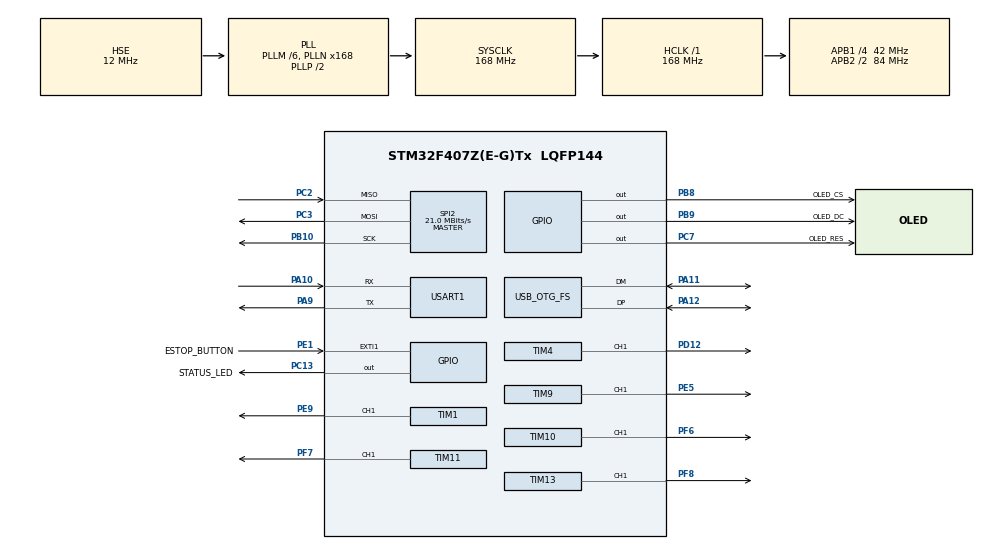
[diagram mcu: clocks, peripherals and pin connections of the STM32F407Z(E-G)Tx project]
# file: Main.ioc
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IWDG.Prescaler=IWDG_PRESCALER_32
Mcu.Family=STM32F4
Mcu.Name=STM32F407Z(E-G)Tx
Mcu.Package=LQFP144
NVIC.EXTI1_IRQn=true\:0\:0\:false\:false\:true\:true\:true\:true
NVIC.OTG_FS_IRQn=true\:5\:0\:true\:false\:true\:false\:true\:true
NVIC.PriorityGroup=NVIC_PRIORITYGROUP_4
NVIC.TIM1_BRK_TIM9_IRQn=true\:1\:0\:true\:false\:true\:true\:true\:true
NVIC.TIM1_TRG_COM_TIM11_IRQn=true\:1\:0\:true\:false\:true\:true\:true\:true
NVIC.TIM1_UP_TIM10_IRQn=true\:1\:0\:true\:false\:true\:true\:true\:true
NVIC.TIM4_IRQn=true\:1\:0\:true\:false\:true\:true\:true\:true
NVIC.TIM7_IRQn=true\:2\:0\:true\:false\:true\:true\:true\:true
NVIC.TIM8_UP_TIM13_IRQn=true\:1\:0\:true\:false\:true\:true\:true\:true
PA10.Mode=Asynchronous
PA10.Signal=USART1_RX
PA11.Mode=Device_Only
PA11.Signal=USB_OTG_FS_DM
PA12.Mode=Device_Only
PA12.Signal=USB_OTG_FS_DP
PA13.Mode=Serial_Wire
PA13.Signal=SYS_JTMS-SWDIO
PA14.Mode=Serial_Wire
PA14.Signal=SYS_JTCK-SWCLK
PA9.Mode=Asynchronous
PA9.Signal=USART1_TX
PB10.Mode=Full_Duplex_Master
PB10.Signal=SPI2_SCK
PB8.GPIO_Label=OLED_CS
PB8.GPIO_Speed=GPIO_SPEED_FREQ_VERY_HIGH
PB8.Signal=GPIO_Output
PB9.GPIO_Label=OLED_DC
PB9.GPIO_Speed=GPIO_SPEED_FREQ_VERY_HIGH
PB9.Signal=GPIO_Output
PC13-ANTI_TAMP.GPIO_Label=STATUS_LED
PC13-ANTI_TAMP.Signal=GPIO_Output
PC2.Mode=Full_Duplex_Master
PC2.Signal=SPI2_MISO
PC3.Mode=Full_Duplex_Master
PC3.Signal=SPI2_MOSI
PC7.GPIO_Label=OLED_RES
PC7.GPIO_Speed=GPIO_SPEED_FREQ_VERY_HIGH
PC7.Signal=GPIO_Output
PD12.Signal=S_TIM4_CH1
PE1.GPIO_Label=ESTOP_BUTTON
PE1.GPIO_ModeDefaultEXTI=GPIO_MODE_IT_RISING_FALLING
PE1.GPIO_PuPd=GPIO_PULLUP
PE1.Signal=GPXTI1
PE5.Signal=S_TIM9_CH1
PE9.Signal=S_TIM1_CH1
PF6.Signal=S_TIM10_CH1
PF7.Signal=S_TIM11_CH1
PF8.Signal=S_TIM13_CH1
PH0-OSC_IN.Mode=HSE-External-Oscillator
PH0-OSC_IN.Signal=RCC_OSC_IN
PH1-OSC_OUT.Mode=HSE-External-Oscillator
PH1-OSC_OUT.Signal=RCC_OSC_OUT
ProjectManager.HeapSize=0x200
ProjectManager.StackSize=0x400
ProjectManager.TargetToolchain=STM32CubeIDE
RCC.48MHZClocksFreq_Value=48000000
RCC.AHBFreq_Value=168000000
RCC.APB1CLKDivider=RCC_HCLK_DIV4
RCC.APB1Freq_Value=42000000
RCC.APB1TimFreq_Value=84000000
RCC.APB2CLKDivider=RCC_HCLK_DIV2
RCC.APB2Freq_Value=84000000
RCC.APB2TimFreq_Value=168000000
RCC.CortexFreq_Value=168000000
RCC.HCLKFreq_Value=168000000
RCC.HSE_VALUE=12000000
RCC.HSI_VALUE=16000000
RCC.LSE_VALUE=32768
RCC.PLLM=6
RCC.PLLN=168
RCC.PLLQ=7
RCC.SYSCLKFreq_VALUE=168000000
RCC.SYSCLKSource=RCC_SYSCLKSOURCE_PLLCLK
RCC.VCOOutputFreq_Value=336000000
SH.S_TIM10_CH1.0=TIM10_CH1,PWM Generation1 CH1
SH.S_TIM11_CH1.0=TIM11_CH1,PWM Generation1 CH1
SH.S_TIM13_CH1.0=TIM13_CH1,PWM Generation1 CH1
SH.S_TIM1_CH1.0=TIM1_CH1,PWM Generation1 CH1
SH.S_TIM4_CH1.0=TIM4_CH1,PWM Generation1 CH1
SH.S_TIM9_CH1.0=TIM9_CH1,PWM Generation1 CH1
SPI2.BaudRatePrescaler=SPI_BAUDRATEPRESCALER_2
SPI2.CalculateBaudRate=21.0 MBits/s
SPI2.Direction=SPI_DIRECTION_2LINES
SPI2.Mode=SPI_MODE_MASTER
SPI2.VirtualType=VM_MASTER
TIM1.AutoReloadPreload=TIM_AUTORELOAD_PRELOAD_ENABLE
TIM1.Channel-PWM\ Generation1\ CH1=TIM_CHANNEL_1
TIM1.OCFastMode_PWM-PWM\ Generation1\ CH1=TIM_OCFAST_ENABLE
TIM1.Prescaler=167
TIM10.AutoReloadPreload=TIM_AUTORELOAD_PRELOAD_ENABLE
TIM10.Channel=TIM_CHANNEL_1
TIM10.OCFastMode_PWM=TIM_OCFAST_ENABLE
TIM10.Prescaler=167
TIM11.AutoReloadPreload=TIM_AUTORELOAD_PRELOAD_ENABLE
TIM11.Channel=TIM_CHANNEL_1
TIM11.OCFastMode_PWM=TIM_OCFAST_ENABLE
TIM11.Prescaler=167
TIM13.AutoReloadPreload=TIM_AUTORELOAD_PRELOAD_ENABLE
TIM13.Channel=TIM_CHANNEL_1
TIM13.OCFastMode_PWM=TIM_OCFAST_ENABLE
TIM13.Prescaler=83
TIM4.AutoReloadPreload=TIM_AUTORELOAD_PRELOAD_ENABLE
TIM4.Channel-PWM\ Generation1\ CH1=TIM_CHANNEL_1
TIM4.OCFastMode_PWM-PWM\ Generation1\ CH1=TIM_OCFAST_ENABLE
TIM4.Prescaler=83
TIM7.AutoReloadPreload=TIM_AUTORELOAD_PRELOAD_ENABLE
TIM7.Prescaler=83
TIM9.AutoReloadPreload=TIM_AUTORELOAD_PRELOAD_ENABLE
TIM9.Channel-PWM\ Generation1\ CH1=TIM_CHANNEL_1
TIM9.OCFastMode_PWM-PWM\ Generation1\ CH1=TIM_OCFAST_ENABLE
TIM9.Prescaler=167
USART1.VirtualMode=VM_ASYNC
USB_DEVICE.CLASS_NAME_FS=AUDIO
USB_DEVICE.VirtualMode-AUDIO_FS=Audio
USB_DEVICE.VirtualModeFS=Audio_FS
USB_OTG_FS.VirtualMode=Device_Only
VP_IWDG_VS_IWDG.Mode=IWDG_Activate
VP_TIM10_VS_ClockSourceINT.Mode=Enable_Timer
VP_TIM10_VS_OPM.Mode=OPM_bit
VP_TIM11_VS_ClockSourceINT.Mode=Enable_Timer
VP_TIM11_VS_OPM.Mode=OPM_bit
VP_TIM13_VS_ClockSourceINT.Mode=Enable_Timer
VP_TIM1_VS_OPM.Mode=OPM_bit
VP_TIM4_VS_OPM.Mode=OPM_bit
VP_TIM7_VS_ClockSourceINT.Mode=Enable_Timer
VP_TIM9_VS_OPM.Mode=OPM_bit
VP_USB_DEVICE_VS_USB_DEVICE_AUDIO_FS.Mode=AUDIO_FS
board=custom

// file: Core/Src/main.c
/* USER CODE BEGIN Header */
/**
  ******************************************************************************
  * @file           : main.c
  * @brief          : Main program body
  ******************************************************************************
  * @attention
  *
  * Copyright (c) 2026 STMicroelectronics.
  * All rights reserved.
  *
  * This software is licensed under terms that can be found in the LICENSE file
  * in the root directory of this software component.
  * If no LICENSE file comes with this software, it is provided AS-IS.
  *
  ******************************************************************************
  */
/* USER CODE END Header */
#include "main.h"
#include "iwdg.h"
#include "spi.h"
#include "tim.h"
#include "usart.h"
#include "usb_device.h"
#include "gpio.h"

/* USER CODE BEGIN Includes */
#include "debug_uart.h"
#include "cdc_parser.h"
#include "usbd_composite.h"
#include "safety.h"
#include "coil_driver.h"
#include "scheduler.h"
#include "midi_engine.h"
#include "display_ui.h"
#include "qcw.h"
/* USER CODE END Includes */

/* USER CODE BEGIN PV */
extern USBD_HandleTypeDef hUsbDeviceFS;
/* USER CODE END PV */

void SystemClock_Config(void);

int main(void)
{

  /* MCU Configuration--------------------------------------------------------*/

  /* Reset of all peripherals, Initializes the Flash interface and the Systick. */
  HAL_Init();

  /* Configure the system clock */
  SystemClock_Config();

  /* Initialize all configured peripherals */
  MX_GPIO_Init();
  MX_TIM1_Init();
  MX_TIM4_Init();
  MX_TIM7_Init();
  MX_TIM9_Init();
  MX_TIM10_Init();
  MX_TIM11_Init();
  MX_TIM13_Init();
  MX_USB_DEVICE_Init();
  MX_IWDG_Init();
  MX_SPI2_Init();
  MX_USART1_UART_Init();
  /* USER CODE BEGIN 2 */
  Debug_Init();
  Debug_Log("System booting...");
  CDC_Parser_Init();
  Debug_Log("USB Composite (CDC+MIDI) initialized");

  /* Milestone 2: Initialize safety, coil driver, scheduler, MIDI engine */
  Safety_Init();
  Debug_Log("Safety limits initialized (defaults)");

  CoilDriver_Init();
  Debug_Log("Coil driver initialized (6 OPM timers)");

  /* SAFETY: Verify all coil outputs are LOW after initialization.
   * If any pin is still HIGH, hardware or init is broken — engage E-Stop. */
  if (CoilDriver_AnyPinHigh())
  {
    Debug_Log("[SAFETY] CRITICAL: Coil pin(s) HIGH after init! E-Stop engaged.");
    Safety_EStopSet(1);
    CoilDriver_StopAll();
  }
  else
  {
    Debug_Log("[SAFETY] Boot check passed: all coil pins LOW");
  }

  /* SAFETY: Sync E-Stop state to the actual physical button position.
   * This corrects any stale state from transient EXTI edges during boot.
   * Pull-down + Disconnect Detect: pin LOW = disconnected/cut = E-Stop active. */
  {
    uint8_t btn_pressed = (HAL_GPIO_ReadPin(ESTOP_BUTTON_GPIO_Port,
                                            ESTOP_BUTTON_Pin) == GPIO_PIN_RESET) ? 1U : 0U;
    Safety_EStopSet(btn_pressed);
    if (btn_pressed)
    {
      CoilDriver_StopAll();
      Debug_Log("[SAFETY] E-Stop button is physically pressed at boot");
    }
    else
    {
      Debug_Log("[SAFETY] E-Stop button released — system armed");
    }
  }

  MidiEngine_Init();

  /* QCW subsystem: init after CoilDriver (needs OPM timers ready) */
  QCW_Init();

  /* OLED Display: staggered init to prevent 3.3V brownout from inrush.
   * Must be called after MX_SPI2_Init() and MX_GPIO_Init(). */
  DisplayUI_Init();

  Scheduler_Init();
  Scheduler_Start();

  Debug_Log("Entering main loop");
  HAL_GPIO_TogglePin(STATUS_LED_GPIO_Port, STATUS_LED_Pin);
  /* USER CODE END 2 */

  /* Infinite loop */
  while (1)
  {

    /* USER CODE BEGIN 3 */

    /* ------ CDC Command Processing (HIGHEST PRIORITY in main loop) ------ */
    /* Process CDC commands BEFORE MIDI to guarantee control is never starved */
    CDC_Parser_Process(&hUsbDeviceFS);

    /* ------ MIDI Note Processing ------ */
    /* Process USB MIDI packets → scheduler tones (lower priority than CDC) */
    MidiEngine_ProcessUSB(&hUsbDeviceFS);

    /* ------ CDC TX Flush ------ */
    USBD_Composite_CDC_TxFlush(&hUsbDeviceFS);

    /* ------ OLED Display Update (~15 FPS, non-blocking) ------ */
    DisplayUI_Update();

    /* ------ Debug UART Flush ------ */
    Debug_Flush();

    /* ------ Watchdog Feed ------ */
    HAL_IWDG_Refresh(&hiwdg);
  }
  /* USER CODE END 3 */
}

void SystemClock_Config(void)
{
  RCC_OscInitTypeDef RCC_OscInitStruct = {0};
  RCC_ClkInitTypeDef RCC_ClkInitStruct = {0};

  /** Configure the main internal regulator output voltage
  */
  __HAL_RCC_PWR_CLK_ENABLE();
  __HAL_PWR_VOLTAGESCALING_CONFIG(PWR_REGULATOR_VOLTAGE_SCALE1);

  /** Initializes the RCC Oscillators according to the specified parameters
  * in the RCC_OscInitTypeDef structure.
  */
  RCC_OscInitStruct.OscillatorType = RCC_OSCILLATORTYPE_LSI|RCC_OSCILLATORTYPE_HSE;
  RCC_OscInitStruct.HSEState = RCC_HSE_ON;
  RCC_OscInitStruct.LSIState = RCC_LSI_ON;
  RCC_OscInitStruct.PLL.PLLState = RCC_PLL_ON;
  RCC_OscInitStruct.PLL.PLLSource = RCC_PLLSOURCE_HSE;
  RCC_OscInitStruct.PLL.PLLM = 6;
  RCC_OscInitStruct.PLL.PLLN = 168;
  RCC_OscInitStruct.PLL.PLLP = RCC_PLLP_DIV2;
  RCC_OscInitStruct.PLL.PLLQ = 7;
  if (HAL_RCC_OscConfig(&RCC_OscInitStruct) != HAL_OK)
  {
    Error_Handler();
  }

  /** Initializes the CPU, AHB and APB buses clocks
  */
  RCC_ClkInitStruct.ClockType = RCC_CLOCKTYPE_HCLK|RCC_CLOCKTYPE_SYSCLK
                              |RCC_CLOCKTYPE_PCLK1|RCC_CLOCKTYPE_PCLK2;
  RCC_ClkInitStruct.SYSCLKSource = RCC_SYSCLKSOURCE_PLLCLK;
  RCC_ClkInitStruct.AHBCLKDivider = RCC_SYSCLK_DIV1;
  RCC_ClkInitStruct.APB1CLKDivider = RCC_HCLK_DIV4;
  RCC_ClkInitStruct.APB2CLKDivider = RCC_HCLK_DIV2;

  if (HAL_RCC_ClockConfig(&RCC_ClkInitStruct, FLASH_LATENCY_5) != HAL_OK)
  {
    Error_Handler();
  }
}

void Error_Handler(void)
{
  __disable_irq();
  while (1)
  {
  }
}
